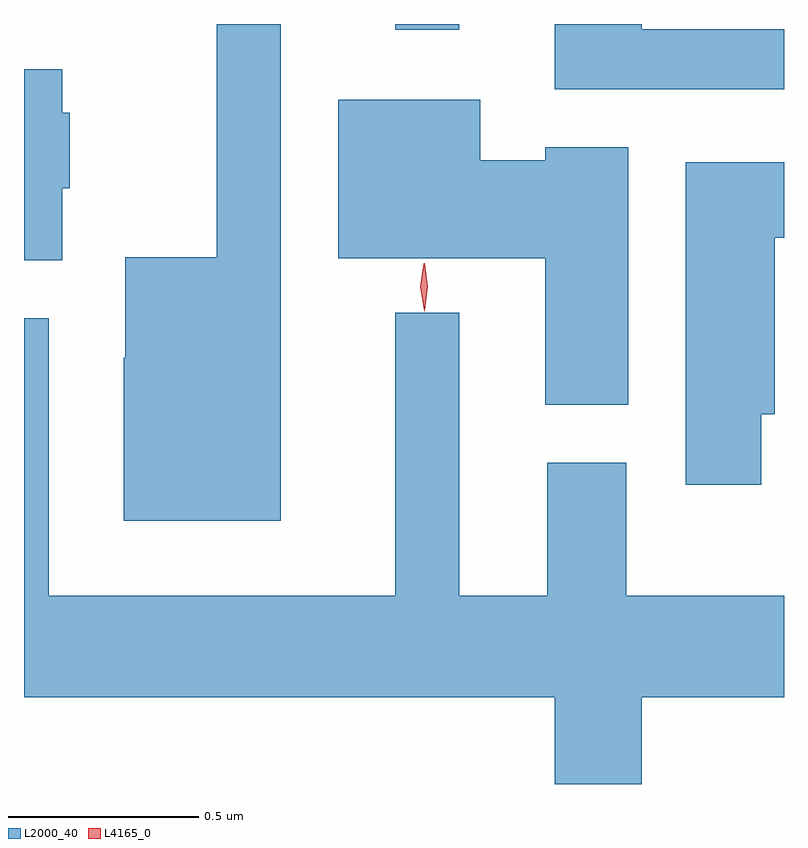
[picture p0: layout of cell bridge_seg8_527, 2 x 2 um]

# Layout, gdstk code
import gdstk
lib = gdstk.Library(unit=1e-6, precision=1e-09)
def R(c, l, rs):  # rectangles x0, y0, x1, y1
    for r in rs: c.add(gdstk.rectangle(r[:2], r[2:], *l))
def P(c, l, *ps):  # polygons
    for p in ps: c.add(gdstk.Polygon(p, *l))
L2000_40 = (2000, 40)
L4165_0 = (4165, 0)

bridge_seg8_527 = lib.new_cell('bridge_seg8_527')
R(bridge_seg8_527, L2000_40, [(285.201,1853.713,285.369,1853.728)])
P(bridge_seg8_527, L2000_40, [(286.224,1853.714),(285.849,1853.714),(285.849,1853.728),(285.621,1853.728),(285.621,1853.556),(286.224,1853.556)],
  [(284.899,1853.728),(284.731,1853.728),(284.731,1853.114),(284.491,1853.114),(284.491,1852.85),(284.486,1852.85),(284.486,1852.421),(284.899,1852.421)],
  [(284.324,1853.296),(284.344,1853.296),(284.344,1853.494),(284.324,1853.494),(284.324,1853.609),(284.224,1853.609),(284.224,1853.106),(284.324,1853.106)],
  [(285.814,1853.404),(285.596,1853.404),(285.596,1853.369),(285.424,1853.369),(285.424,1853.529),(285.051,1853.529),(285.051,1853.111),(285.596,1853.111),(285.596,1852.726),(285.814,1852.726)],
  [(286.164,1852.701),(286.199,1852.701),(286.199,1853.166),(286.224,1853.166),(286.224,1853.364),(285.966,1853.364),(285.966,1852.516),(286.164,1852.516)],
  [(285.849,1851.956),(286.224,1851.956),(286.224,1852.224),(285.809,1852.224),(285.809,1852.574),(285.601,1852.574),(285.601,1852.224),(285.369,1852.224),(285.369,1852.968),(285.201,1852.968),(285.201,1852.224),(284.289,1852.224),(284.289,1852.954),(284.224,1852.954),(284.224,1851.956),(285.621,1851.956),(285.621,1851.728),(285.849,1851.728)])
P(bridge_seg8_527, L4165_0, [(285.278,1852.972),(285.277,1852.973),(285.267,1853.036),(285.276,1853.099),(285.277,1853.099),(285.278,1853.099),(285.287,1853.036),(285.278,1852.973)])

lib.write_gds('bridge_seg8_527.gds')
